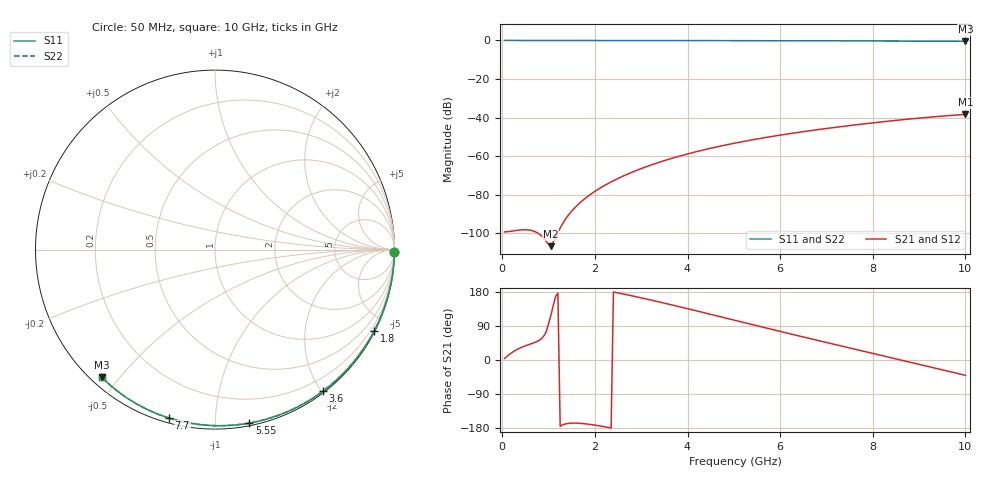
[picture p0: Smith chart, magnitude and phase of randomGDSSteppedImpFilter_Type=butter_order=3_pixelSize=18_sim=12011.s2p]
! freq	dB(S11)	phase(S11)	dB(S12)	phase(S12)
!  dB(S21)	phase(S21)	dB(S22)	phase(S22)
!S-par simulation data
#  GHz  S  DB  R 50
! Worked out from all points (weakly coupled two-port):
!   200 points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, 50 MHz to 10 GHz, reference 50 ohm
!   highest |S21| = -38.33 dB at 10 GHz (marker M1); lowest = -106.6 dB at 1.05 GHz (marker M2)
!   lowest |S11| = -0.4 dB at 10 GHz (marker M3), VSWR 39.27, Z = 1.53 - j22.4 ohm
!   |S11| at or under -10 dB: nowhere
!   |S22| runs from -0.4 to 0.0 dB; largest |S21 - S12| = 0
!   S11 on the Smith chart (normalised r, x): 50 MHz: open; 1.8 GHz: 0.04, -4.17; 3.6 GHz: 0.02, -2.02; 5.55 GHz: 0.02, -1.22; 7.7 GHz: 0.02, -0.76; 10 GHz: 0.03, -0.45
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0.05  -0.00 -0.8  -99.23 4.0  -99.23 4.0  -0.00 -0.8
0.55  -0.01 -8.4  -98.16 39.7  -98.16 39.7  -0.01 -8.4
1.05  -0.02 -15.9  -106.61 118.3  -106.61 118.3  -0.02 -15.9
1.75  -0.03 -26.3  -82.61 -167.9  -82.61 -167.9  -0.03 -26.3
1.8  -0.03 -27.0  -81.64 -168.6  -81.64 -168.6  -0.03 -27.0
1.9  -0.04 -28.5  -79.84 -170.1  -79.84 -170.1  -0.04 -28.5
2.05  -0.04 -30.7  -77.42 -172.8  -77.42 -172.8  -0.04 -30.7
2.25  -0.04 -33.6  -74.57 -177.1  -74.57 -177.1  -0.04 -33.6
2.45  -0.05 -36.5  -72.07 178.3  -72.07 178.3  -0.05 -36.5
2.65  -0.05 -39.3  -69.83 173.3  -69.83 173.3  -0.05 -39.3
3  -0.06 -44.3  -66.39 164.0  -66.39 164.0  -0.06 -44.3
3.4  -0.07 -50.0  -63.02 152.9  -63.02 152.9  -0.07 -50.0
3.6  -0.07 -52.8  -61.52 147.1  -61.52 147.1  -0.07 -52.8
4.3  -0.09 -62.4  -56.99 126.5  -56.99 126.5  -0.09 -62.4
5.05  -0.11 -72.3  -53.07 103.9  -53.07 103.9  -0.11 -72.3
5.55  -0.13 -78.8  -50.84 88.9  -50.84 88.9  -0.13 -78.8
6.1  -0.15 -85.8  -48.68 72.5  -48.68 72.5  -0.15 -85.8
6.7  -0.18 -93.2  -46.58 54.9  -46.58 54.9  -0.18 -93.2
7.7  -0.24 -105.2  -43.54 26.1  -43.54 26.1  -0.24 -105.3
8.35  -0.29 -112.9  -41.80 7.6  -41.80 7.6  -0.29 -112.9
9.15  -0.35 -122.1  -39.91 -15.4  -39.91 -15.4  -0.35 -122.1
10  -0.44 -131.7  -38.33 -40.5  -38.33 -40.5  -0.44 -131.7
